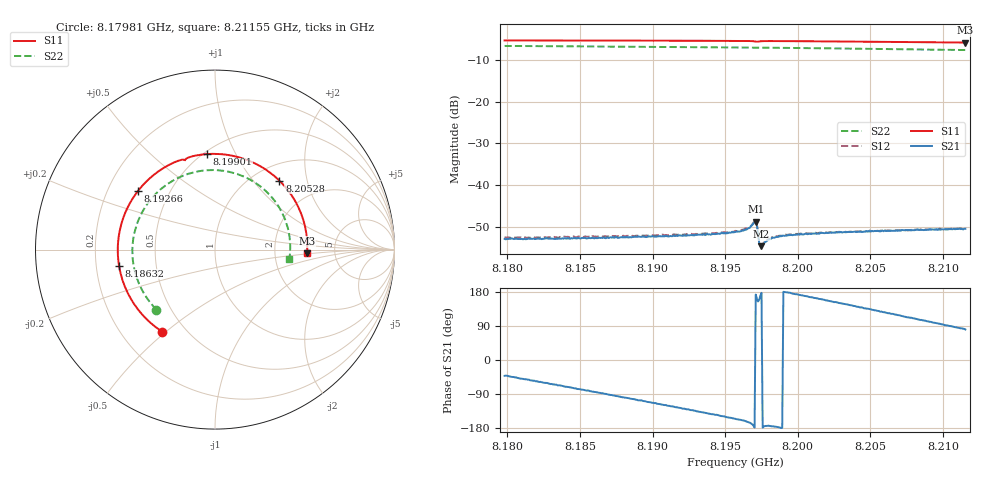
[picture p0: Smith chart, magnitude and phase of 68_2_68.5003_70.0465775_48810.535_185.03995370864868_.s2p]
#  HZ  S  RI  R  50.00
! Rohde & Schwarz Vector Network Analyzer
! Rohde-Schwarz,ZNB20-2Port,1311601062101988,3.16
! Created: UTC 3/20/2024, 5:06:47 PM
! freq[Hz]  re:S11  im:S11  re:S21  im:S21  re:S12  im:S12  re:S22  im:S22
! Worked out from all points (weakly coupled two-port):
!   401 points, 8.17981 GHz to 8.21155 GHz, reference 50 ohm
!   highest |S21| = -48.84 dB at 8.19711 GHz (marker M1); lowest = -54.7 dB at 8.1975 GHz (marker M2)
!   lowest |S11| = -5.8 dB at 8.21155 GHz (marker M3), VSWR 3.11, Z = 155 - j8.39 ohm
!   |S11| at or under -10 dB: nowhere
!   |S22| runs from -7.6 to -6.6 dB; largest |S21 - S12| = 0.00019
!   S11 on the Smith chart (normalised r, x): 8.17981 GHz: 0.37, -0.49; 8.18632 GHz: 0.30, -0.08; 8.19266 GHz: 0.33, +0.31; 8.19901 GHz: 0.52, +0.77; 8.20528 GHz: 1.29, +1.37; 8.21155 GHz: 3.10, -0.17
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8.179811e9  -0.2945 -0.4571  0.00168 -0.0015  0.00176 -0.00152  -0.3265 -0.334
8.182667e9  -0.4375 -0.3219  0.00113 -0.00199  0.00111 -0.00205  -0.4172 -0.2035
8.185126e9  -0.5153 -0.1703  0.000461 -0.00227  0.00047 -0.00236  -0.4559 -0.0726
8.186317e9  -0.5347 -0.0897  0.000142 -0.00233  0.000106 -0.00242  -0.4604 -0.00645
8.188379e9  -0.5387 0.0539  -0.000443 -0.0023  -0.000536 -0.0024  -0.4458 0.1071
8.190442e9  -0.5047 0.1937  -0.00106 -0.00218  -0.00115 -0.0022  -0.4032 0.2133
8.192664e9  -0.4276 0.3288  -0.00169 -0.00185  -0.00179 -0.00188  -0.329 0.3117
8.195679e9  -0.2671 0.4661  -0.00247 -0.00115  -0.00259 -0.00111  -0.1905 0.4065
8.196472e9  -0.2157 0.4907  -0.00278 -0.000886  -0.00291 -0.000809  -0.1488 0.4222
8.196948e9  -0.1813 0.5011  -0.00341 -0.000407  -0.00352 -0.00032  -0.1227 0.4295
8.197027e9  -0.1749 0.501  -0.00357 -0.000108  -0.00363 1.42e-05  -0.1184 0.4304
8.197107e9  -0.1694 0.4997  -0.00358 0.000455  -0.00364 0.000587  -0.1141 0.4315
8.197424e9  -0.1594 0.5074  -0.00183 0.000343  -0.00185 0.000387  -0.0971 0.4352
8.197503e9  -0.1537 0.5104  -0.00184 8.73e-05  -0.00189 0.000164  -0.0925 0.4361
8.198138e9  -0.1081 0.5238  -0.00225 -0.000212  -0.00229 -0.000122  -0.0568 0.4412
8.199011e9  -0.0462 0.5321  -0.00247 3.24e-06  -0.00248 0.000112  -0.00745 0.4432
8.200994e9  0.0936 0.5235  -0.00253 0.00066  -0.0025 0.00076  0.1041 0.427
8.203057e9  0.2309 0.476  -0.0023 0.00138  -0.00229 0.00148  0.2124 0.38
8.205279e9  0.3584 0.3846  -0.00185 0.00211  -0.00177 0.00215  0.3113 0.2974
8.20631e9  0.407 0.3299  -0.00156 0.00236  -0.00148 0.00242  0.3481 0.2493
8.209008e9  0.4936 0.1596  -0.000591 0.00286  -0.000506 0.00288  0.4099 0.1021
8.211547e9  0.513 -0.0199  0.000488 0.00294  0.000534 0.00293  0.4142 -0.0513
